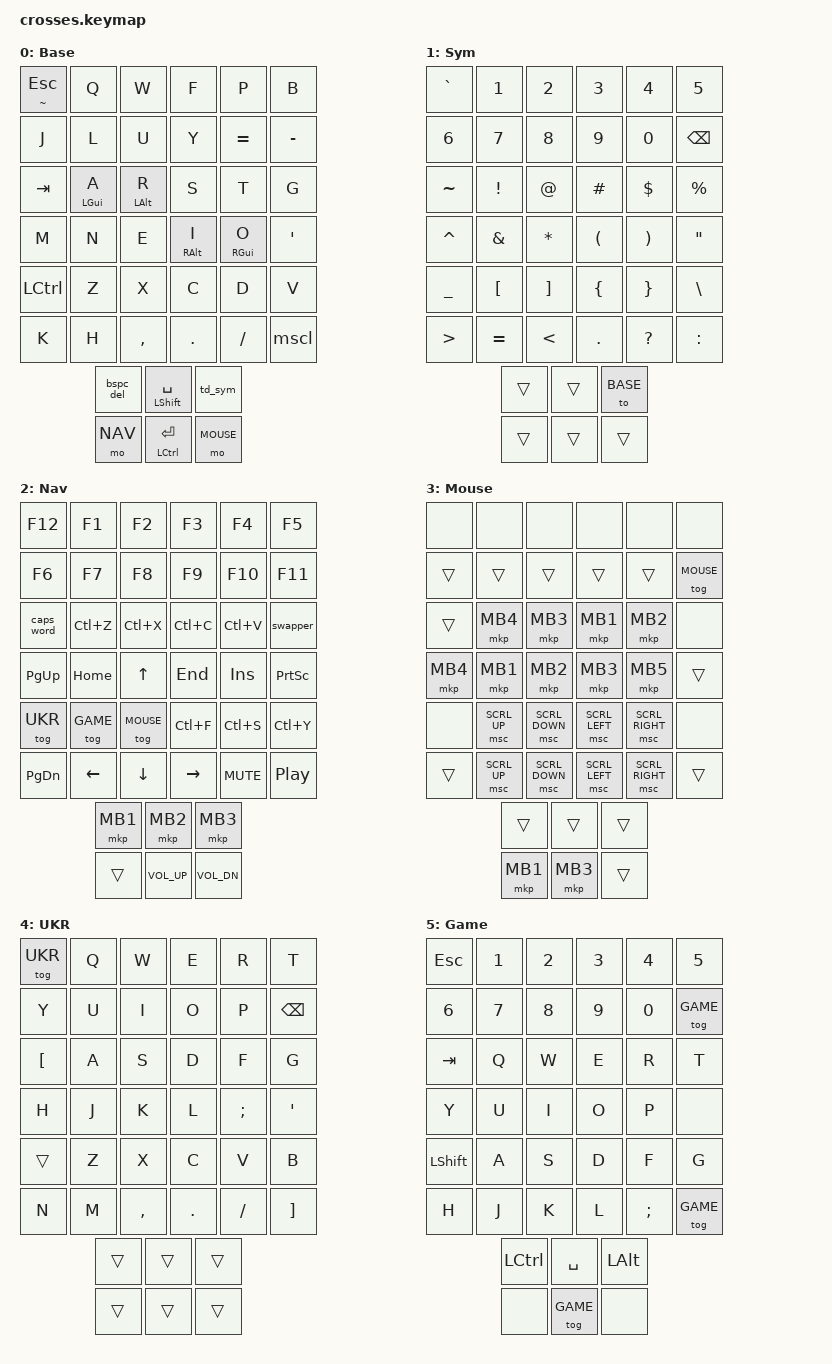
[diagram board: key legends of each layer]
// ============================================================================
// Crosses 42 — ZMK Keymap — STAGE 9 (A3 + B1: drop mod-morphs, ;: at pos 35)
//
// Stages 1-8: hardware-verified history (see STAGEn_NOTES.md per stage).
//
// Stage 9 features (this stage):
//   • BASE punctuation rework (audit option A3 + B1):
//     - pos 23: SQT plain (', Shift = ")           — was mcs (',;')
//     - pos 32: COMMA plain (,, Shift = <)         — was SQT
//     - pos 33: DOT plain (., Shift = >)           — was mdc ('.:')
//     - pos 35: mscl mod-morph (; tap, : Shift)    — was BSLH ('\|')
//     Rationale: pos 32/33 return to QWERTY-like positions (matches Max's
//     dominant muscle memory — Stage 8 swap chased the wrong memory). `;`
//     and `:` move off Shift+pos-23 and Shift+pos-33 onto a dedicated key
//     at outer-pinky bottom. `\` is rare in daily typing → relegated to SYM.
//   • Behaviors block: mcs and mdc removed (no longer used). mscl added.
//     (Label is `mscl` not `msc` — `msc` collides with upstream ZMK
//     mouse_scroll behavior used on MOUSE layer.)
//   • SYM realign (column-alignment rule mostly preserved):
//       pos 23 SYM = '"'   (matches SQT Shift at pos 23 on BASE)
//       pos 32 SYM = '<'   (matches COMMA Shift at pos 32 on BASE)
//       pos 33 SYM = '.'   (BASE-TAP mirror, NOT BASE-shift — exception to
//                          the rule, for typing `1.5.0` from SYM/Numword)
//       pos 34 SYM = '?'   (unchanged — matches FSLH Shift)
//       pos 35 SYM = ':'   (matches mscl Shift at pos 35 on BASE)
//     `\` relocated to SYM pos 29 (joins the left-side bracket cluster as
//     the escape character). SYM pos 30 = '>' (relocated from pos 33 to
//     keep `>` directly tappable on SYM without a Shift chord).
//   • `<` reachable: SYM pos 32 direct, or Shift+pos-32 on BASE.
//   • `>` reachable: SYM pos 30 direct, or Shift+pos-33 on BASE/SYM.
//   • `.` reachable: BASE pos 33 direct, or SYM pos 33 direct (same column).
//   • UKR Ґ path shifts: was Shift+SYM+pos-35, now Shift+SYM+pos-29
//     (where \ lives on SYM).
//
// All Stage 8 mechanics retained:
//   • combo_ctrl_v on pos 14+29 (S+V) — Ctrl+V via combo
//   • NAV pos 27/28/29 = Ctrl+F / Ctrl+S / Ctrl+Y
//   • Brackets on left ([ ] { }) at pos 25-28 (inward rolls)
//   • ( ) on right (pos 21/22), = at right-index home (pos 31)
//   • Number-row shift partners 8→*, 9→(, 0→) at pos 20-22
//
// All Stage 7 mechanics retained:
//   • sht (Space/Shift balanced, 200/0/75)
//   • Numword on td_sym double-tap, momentary on single-hold
//   • Caps Word combo (pos 36+37), Bootloader combo (pos 0+11 on NAV)
//   • Mouseless combos: D+V → ScrollLock (overlay), K+H → Pause (free)
//   • Alt-Tab swapper (tri-state) on NAV pos 17
//   • Dedicated LCTRL at pos 24 (still the long-tail Ctrl key)
//   • All bracket characters live on SYM only (no BASE TD brackets)
//
// Current BASE HRM scope:
//   • Win/Alt only: A=LGUI, R=LALT, I=RALT, O=RGUI
//   • S/T/N/E are plain keys; Ctrl and Shift use dedicated alternatives
//
// KeyPeek integration (Stage 6+):
//   See KEYPEEK_SETUP.md. After this stage's rebuild, refresh the behavior
//   IDs in keypeek-crosses42/src/zmk_keycode_labels/crosses42.rs — they
//   change on every behaviors-block edit. Stage 9 removes mcs and mdc
//   labels and adds an mscl label. Stage 8 patched the fork's
//   keycode_label.rs to render single-glyph (vs QMK keycap-style two-line)
//   labels for LBKT/RBKT/BSLH/MINUS/EQUAL/COMMA/PERIOD/SLASH/SEMI/SQT/GRAVE.
//
// UKR layer notes:
//   • Thumbs are &trans — fall through to BASE (SYM/NAV thumbs still work)
//   • Ґ (rare 33rd letter): hold SYM thumb → SYM layer → BSLH position
//     (now pos 29 SYM, was pos 35 pre-Stage-9), while holding any Shift
//     source. UKR home-row Y/J have no HRM, so Shift comes from BASE
//     SPC⇧ thumb (pos 37 &trans → BASE sht).
//   • Windows IME must be switched manually (Win+Space) before entering L4
//
// Game layer notes:
//   • HRM positions use plain &kp — no hold-tap timing at all
//   • &none on right-side unused positions blocks BASE HRM fallthrough
//   • EXIT on three right-side keys: top-right outer, bottom-right outer,
//     right inner thumb
//
// Hardware-verified UX checkpoint (2026-09-01):
//   • Right-ball Auto Mouse with conventional click/wheel controls; Grid Jump
//     removed because it was not useful in daily practice.
//   • Six-count/80 ms motion gate plus 500 ms prior-idle guard prevents
//     key-strike vibration from activating Mouse.
//   • BASE HRMs reduced to Win/Alt only; S/T/N/E remain plain keys.
// Deferred: extend the Ctrl+V combo pattern only if direct evidence supports
//   it; consider tighter timing only for the four retained Win/Alt HRMs.
// ============================================================================

#include <behaviors.dtsi>
#include <behaviors/num_word.dtsi>
#include <input/processors.dtsi>
#include <dt-bindings/zmk/keys.h>
#include <dt-bindings/zmk/bt.h>
#include <dt-bindings/zmk/outputs.h>
#include <dt-bindings/zmk/pointing.h>
#include <dt-bindings/zmk/reset.h>

#define BASE  0
#define SYM   1
#define NAV   2
#define MOUSE 3
#define UKR   4
#define GAME  5

#define LEFT_HAND_KEYS  \
        0  1  2  3  4  5  \
        12 13 14 15 16 17 \
        24 25 26 27 28 29 \
        36 37 38

#define RIGHT_HAND_KEYS \
        6  7  8  9  10 11 \
        18 19 20 21 22 23 \
        30 31 32 33 34 35 \
        39 40 41

/ {
    auto_mouse_layer: auto_mouse_layer {
        compatible = "zmk,input-processor-temp-layer";
        #input-processor-cells = <2>;
        // Do not let desk/ball vibration from typing raise Mouse. Pointer
        // motion still reaches the host during this guard; only the automatic
        // layer activation waits until the keyboard has been idle for 500 ms.
        require-prior-idle-ms = <500>;
        // Only clicks and wheel actions keep auto-Mouse active on press.
        // Left thumb presses dismiss the temporary layer for immediate editing.
        excluded-positions = <13 14 15 16 25 26 27 28>;
    };

    auto_mouse_gate: auto_mouse_gate {
        compatible = "zmk,input-processor-motion-gated-temp-layer";
        #input-processor-cells = <2>;
        processor = <&auto_mouse_layer>;
        // Hard key strikes can mechanically nudge the PMW3610 by 1-2 counts.
        // Require a small intentional movement before raising Mouse; motion
        // itself still reaches the host without being delayed or discarded.
        activation-threshold = <6>;
        activation-window-ms = <80>;
    };

    chosen {
        zmk,physical-layout = &gggw_crosses_42_layout;
    };

    behaviors {
        hml: home_row_mod_left {
            compatible = "zmk,behavior-hold-tap";
            #binding-cells = <2>;
            flavor = "balanced";
            tapping-term-ms = <260>;
            quick-tap-ms = <175>;
            require-prior-idle-ms = <200>;
            bindings = <&kp>, <&kp>;
            hold-trigger-key-positions = <RIGHT_HAND_KEYS>;
            hold-trigger-on-release;
        };

        hmr: home_row_mod_right {
            compatible = "zmk,behavior-hold-tap";
            #binding-cells = <2>;
            flavor = "balanced";
            tapping-term-ms = <260>;
            quick-tap-ms = <175>;
            require-prior-idle-ms = <200>;
            bindings = <&kp>, <&kp>;
            hold-trigger-key-positions = <LEFT_HAND_KEYS>;
            hold-trigger-on-release;
        };

        ht: hold_tap {
            compatible = "zmk,behavior-hold-tap";
            #binding-cells = <2>;
            flavor = "tap-preferred";
            tapping-term-ms = <200>;
            quick-tap-ms = <175>;
            bindings = <&kp>, <&kp>;
        };

        // Space/Shift: balanced flavor so rolling through Space into the
        // next letter produces Space (not Shift). Intentional Shift still
        // works: hold Space → press+release letter → release Space.
        // A short require-prior-idle-ms still protects fast typing rolls while
        // allowing Shift soon after another key. quick-tap-ms is disabled so
        // a rapid Space → Shift reuse is not forced to resolve as Space.
        sht: space_hold_tap {
            compatible = "zmk,behavior-hold-tap";
            #binding-cells = <2>;
            flavor = "balanced";
            tapping-term-ms = <200>;
            quick-tap-ms = <0>;
            require-prior-idle-ms = <75>;
            bindings = <&kp>, <&kp>;
        };

        bspc_del: bspc_del {
            compatible = "zmk,behavior-mod-morph";
            #binding-cells = <0>;
            bindings = <&kp BSPC>, <&kp DEL>;
            mods = <(MOD_LSFT|MOD_RSFT)>;
        };

        // Stage 9 mod-morph: ;: at outer-pinky bottom (pos 35 BASE).
        // mscl: tap = `;`, Shift+tap = `:`
        // Label is `mscl` (not `msc`) — `msc` is taken by upstream ZMK's
        // mouse_scroll behavior, which is used on the MOUSE layer below.
        // Replaces Stage 6's mcs/mdc mod-morphs which were removed when
        // BASE pos 23/32/33 became plain &kp (audit option A3). `;` and `:`
        // now have a dedicated key instead of being Shift-shadows of `,`/`.`.
        mscl: semi_colon {
            compatible = "zmk,behavior-mod-morph";
            #binding-cells = <0>;
            bindings = <&kp SEMI>, <&kp COLON>;
            mods = <(MOD_LSFT|MOD_RSFT)>;
        };

        // Slash unchanged on BASE — Shift+/ produces `?` via the OS (no
        // mod-morph needed). pos 23 BASE = plain SQT (Shift = "). pos 32
        // BASE = plain COMMA (Shift = <). pos 33 BASE = plain DOT (Shift = >).

        // TD brackets removed in Stage 7 — LCTRL at pos 24, no more on BASE.
        // All bracket chars remain accessible on SYM layer.

        // SYM tap-dance: 1× hold = momentary SYM, 2× tap = Numword.
        // Numword (zmk-auto-layer) auto-exits when a non-number key is pressed.
        // For sustained symbol editing, hold SYM instead of double-tapping.
        td_sym: td_sym {
            compatible = "zmk,behavior-tap-dance";
            #binding-cells = <0>;
            tapping-term-ms = <200>;
            bindings = <&mo SYM>, <&num_word SYM>;
        };

        // Alt-Tab swapper: first tap holds Alt + sends Tab, subsequent taps
        // send Tab. Alt releases when any non-ignored key is pressed or when
        // the NAV layer deactivates. Arrow keys are ignored so you can
        // navigate the Windows task switcher.
        swapper: swapper {
            compatible = "zmk,behavior-tri-state";
            #binding-cells = <0>;
            bindings = <&kt LALT>, <&kp TAB>, <&kt LALT>;
            ignored-key-positions = <20 31 32 33>;
            timeout-ms = <5000>;
        };
    };

    combos {
        compatible = "zmk,combos";

        // Caps Word: press BSPC + SPC thumbs simultaneously (pos 36+37).
        // Natural two-thumb gesture, no layer switch needed.
        // Activates Caps Word for Go constants like HTTP_STATUS_OK.
        combo_caps_word {
            timeout-ms = <50>;
            key-positions = <36 37>;
            bindings = <&caps_word>;
            layers = <BASE>;
        };

        // Bootloader: press both outer top corners (pos 0+11) on NAV layer.
        // Intentionally hard to trigger — requires holding NAV + pressing
        // two far-apart keys simultaneously. Replaces the old single-key
        // bootloader at NAV pos 35.
        combo_bootloader {
            timeout-ms = <50>;
            key-positions = <0 11>;
            bindings = <&bootloader>;
            layers = <NAV>;
        };

        // Mouseless overlay: D+V (pos 28+29) → ScrollLock.
        // Configure Mouseless "show overlay" to ScrollLock in its settings.
        // Left bottom row, adjacent inner keys — natural two-finger press.
        combo_mouseless_overlay {
            timeout-ms = <40>;
            key-positions = <28 29>;
            bindings = <&kp SLCK>;
            layers = <BASE>;
            require-prior-idle-ms = <200>;
        };

        // Mouseless free mode: K+H (pos 30+31) → Pause/Break.
        // Configure Mouseless "toggle free mode" to Pause in its settings.
        // Right bottom row, adjacent inner keys — mirrors the left combo.
        combo_mouseless_free {
            timeout-ms = <40>;
            key-positions = <30 31>;
            bindings = <&kp PAUSE_BREAK>;
            layers = <BASE>;
            require-prior-idle-ms = <200>;
        };

        // Stage 8: Ctrl+V via S+V combo (pos 14+29).
        // Kept as a direct shortcut even though S is now a plain key:
        // 40ms simultaneous press → Ctrl+V, no timing/positional contest.
        // require-prior-idle-ms=150 prevents accidental fire during fast
        // typing — English bigram "sv" is essentially nonexistent anyway.
        // Pattern can extend to S+X / S+C / S+D / S+A in Stage 9 if this
        // proves reliable.
        combo_ctrl_v {
            timeout-ms = <40>;
            key-positions = <14 29>;
            bindings = <&kp LC(V)>;
            layers = <BASE>;
            require-prior-idle-ms = <150>;
        };
    };

    keymap {
        compatible = "zmk,keymap";

        // ── L0 Base ──────────────────────────────────────────────────────────
        // ESC/~ at top-left (pos 0). TAB at pos 12 (home row outer left).
        // LCTRL at pos 24 — dedicated Ctrl for same-hand shortcuts:
        //   Ctrl+Z (25), Ctrl+X (26), Ctrl+C (27), Ctrl+D (28), Ctrl+V (29),
        //   Ctrl+S (14), Ctrl+A (13), Ctrl+W (2). Fixes HRM gap where S IS Ctrl.
        // Stage 9 punctuation (post mcs/mdc removal):
        //   pos 23 = SQT plain    (',  Shift = ")
        //   pos 32 = COMMA plain  (,,  Shift = <)
        //   pos 33 = DOT plain    (.,  Shift = >)
        //   pos 34 = FSLH plain   (/,  Shift = ?)
        //   pos 35 = mscl         (;,  Shift = :)   — new ;: mod-morph
        // `\` no longer on BASE — reachable on SYM pos 29 only. UKR Ґ uses
        // that same SYM position now (was pos 35 in Stage 8).
        // Right outer thumb (pos 41) is &mo MOUSE for trackball clicks.
        // Combos: S+V = Ctrl+V (Stage 8), D+V = Mouseless overlay,
        //         K+H = Mouseless free mode, BSPC+SPC = Caps Word.
        base_layer {
            display-name = "Base";
            bindings = <
    &ht TILDE ESC  &kp Q          &kp W          &kp F          &kp P          &kp B
                                                                                       &kp J          &kp L          &kp U          &kp Y          &kp EQUAL      &kp MINUS
    &kp TAB        &hml LGUI A    &hml LALT R    &kp S          &kp T          &kp G
                                                                                       &kp M          &kp N          &kp E          &hmr RALT I    &hmr RGUI O    &kp SQT
    &kp LCTRL      &kp Z          &kp X          &kp C          &kp D          &kp V
                                                                                       &kp K          &kp H          &kp COMMA      &kp DOT        &kp FSLH       &mscl
                                                 &bspc_del      &sht LSHFT SPACE &td_sym
                                                                                       &mo NAV        &mt LCTRL RET  &mo MOUSE
            >;
        };

        // ── L1 Sym ───────────────────────────────────────────────────────────
        // Access: hold ▽SYM (left inner thumb) = momentary
        //         2× tap ▽SYM = Numword (auto-exits on non-number key)
        // Right inner thumb (pos 38) returns to BASE (&to BASE).
        //
        // Stage 9 realign (column rule preserved against new BASE):
        //   • Brackets clustered on left row 3 ([ ] { } at pos 25-28).
        //     Inward rolls for [] and {}.
        //   • `\` at pos 29 — joins the left bracket cluster as the escape
        //     char. Also the UKR Ґ key (Shift+pos-29 → Windows IME maps to Ґ).
        //   • pos 30 = `>` — relocated here so `.` can take pos 33 (see below).
        //   • ( ) on right (pos 21/22) — matches shift+9/0 muscle memory.
        //   • = at right-index home (pos 31) — anchor for ==/!=/=>.
        //   • Column-aligned with BASE: pos 23='"' 32='<' 34='?' 35=':'.
        //   • pos 33 = `.` (BASE-tap mirror, NOT BASE-shift). Lets you type
        //     version numbers like `1.5.0` from SYM/Numword without exiting.
        //     `.` is in num_word's continue-list, so Numword stays active.
        //     `>` still reachable two ways: tap pos 30, or Shift+pos-33
        //     (Shift+. = > via OS layer).
        //   • Number-row shifts standard: 8→*, 9→(, 0→) at pos 20-22.
        //   • + and - not duplicated on SYM (use shift+= and pos 11 on BASE).
        //   • / not duplicated (use pos 34 on BASE; SYM pos 34 = '?').
        //   • `<` reachable two ways: SYM pos 32 (direct) or Shift on BASE
        //     pos 32. `>` reachable two ways: SYM pos 30 (direct) or Shift
        //     on SYM pos 33 / BASE pos 33.
        sym_layer {
            display-name = "Sym";
            bindings = <
    &kp GRAVE      &kp N1         &kp N2         &kp N3         &kp N4         &kp N5
                                                                                       &kp N6         &kp N7         &kp N8         &kp N9         &kp N0         &kp BSPC
    &kp TILDE      &kp EXCL       &kp AT         &kp HASH       &kp DLLR       &kp PRCNT
                                                                                       &kp CARET      &kp AMPS       &kp STAR       &kp LPAR       &kp RPAR       &kp DQT
    &kp UNDER      &kp LBKT       &kp RBKT       &kp LBRC       &kp RBRC       &kp BSLH
                                                                                       &kp GT         &kp EQUAL      &kp LT         &kp DOT        &kp QMARK      &kp COLON
                                                 &trans         &trans         &to BASE
                                                                                       &trans         &trans         &trans
            >;
        };

        // ── L2 Nav + Fn ──────────────────────────────────────────────────────
        // Left home row: clipboard (Undo/Cut/Copy/Paste) — one-hand editing
        // Left bottom row pos 27-29 (Stage 8): Find / Save / Redo. Pairs with
        //   the clipboard cluster above so all common editor shortcuts are
        //   under one NAV hold.
        // pos 12: Caps Word
        // pos 17: Alt-Tab swapper (tri-state)
        // pos 24-26: UKR / Game / Mouse layer toggles
        // Left thumbs: MB1/MB2/MB3 for trackball clicks while holding NAV
        // Bootloader: combo (pos 0+11), not a single key
        nav_layer {
            display-name = "Nav";
            bindings = <
    &kp F12        &kp F1         &kp F2         &kp F3         &kp F4         &kp F5
                                                                                       &kp F6         &kp F7         &kp F8         &kp F9         &kp F10        &kp F11
    &caps_word     &kp LC(Z)      &kp LC(X)      &kp LC(C)      &kp LC(V)      &swapper
                                                                                       &kp PG_UP      &kp HOME       &kp UP         &kp END        &kp INS        &kp PSCRN
    &tog UKR       &tog GAME      &tog MOUSE     &kp LC(F)      &kp LC(S)      &kp LC(Y)
                                                                                       &kp PG_DN      &kp LEFT       &kp DOWN       &kp RIGHT      &kp C_MUTE     &kp C_PP
                                                 &mkp MB1       &mkp MB2       &mkp MB3
                                                                                       &trans         &kp C_VOL_UP   &kp C_VOL_DN
            >;
        };

        // ── L3 Auto Mouse ─────────────────────────────────────────────────────
        // Right-ball motion activates this layer for 1000 ms. Continued motion
        // refreshes the timeout. A 500 ms prior-idle guard prevents typing
        // vibration or incidental ball brushes from raising Mouse.
        //
        // Left home row: Tab is transparent; A=Back (MB4), R=middle (MB3),
        // S=left (MB1), T=right (MB2) click.
        // Left bottom row: discrete wheel up / down / left / right.
        // Left thumbs: transparent to Base, preserving Backspace/Del,
        // Space/Shift, and Sym while dismissing auto-Mouse on press.
        //
        // Grid Jump remains removed. Other quiet left positions use &none;
        // click and wheel positions are excluded from press-to-dismiss.
        //
        // Manual fallback remains: Base pos 41 holds Mouse; Nav pos 26 toggles
        // Mouse; pos 11 exits the toggle. The existing right-side mouse actions
        // remain as manual alternatives to the automatic workflow.
        mouse_layer {
            display-name = "Mouse";
            bindings = <
    &none          &none          &none          &none          &none          &none
                                                                                       &trans         &trans         &trans         &trans         &trans         &tog MOUSE
    &trans         &mkp MB4       &mkp MB3       &mkp MB1       &mkp MB2       &none
                                                                                       &mkp MB4       &mkp MB1       &mkp MB2       &mkp MB3       &mkp MB5       &trans
    &none          &msc SCRL_UP   &msc SCRL_DOWN &msc SCRL_LEFT &msc SCRL_RIGHT &none
                                                                                       &trans         &msc SCRL_UP   &msc SCRL_DOWN &msc SCRL_LEFT &msc SCRL_RIGHT &trans
                                                 &trans         &trans         &trans
                                                                                       &mkp MB1       &mkp MB3       &trans
            >;
        };

        // ── L4 UKR ───────────────────────────────────────────────────────────
        // QWERTY keycodes for Windows Ukrainian IME. No HRM — straight &kp only.
        // Thumbs are &trans — fall through to BASE (SYM + NAV thumbs still work).
        // pos 24 (bottom-left outer) = &trans — falls through to BASE LCTRL,
        //   so Ctrl+C/V/Z work while typing Ukrainian.
        // pos 35 (bottom-right outer) = Ї (&kp RBKT). Overrides BASE backslash.
        // EXIT (pos 0): &tog UKR.
        //
        // Ukrainian letter mapping (Windows Ukrainian QWERTY IME):
        //   Q=Й W=Ц E=У R=К T=Е  Y=Н U=Г I=Ш O=Щ P=З  [=Х ]=Ї
        //   A=Ф S=І D=В F=А G=П  H=Р J=О K=Л L=Д ;=Ж '=Є
        //   Z=Я X=Ч C=С V=М B=И  N=Т M=Ь ,=Б .=Ю /=.
        //   Ґ (rare): Shift+BSLH via SYM layer (SYM thumb still active via &trans)
        ukr_layer {
            display-name = "UKR";
            bindings = <
    &tog UKR       &kp Q          &kp W          &kp E          &kp R          &kp T
                                                                                       &kp Y          &kp U          &kp I          &kp O          &kp P          &kp BSPC
    &kp LBKT       &kp A          &kp S          &kp D          &kp F          &kp G
                                                                                       &kp H          &kp J          &kp K          &kp L          &kp SEMI       &kp SQT
    &trans         &kp Z          &kp X          &kp C          &kp V          &kp B
                                                                                       &kp N          &kp M          &kp COMMA      &kp DOT        &kp FSLH       &kp RBKT
                                                 &trans         &trans         &trans
                                                                                       &trans         &trans         &trans
            >;
        };

        // ── L5 Game ──────────────────────────────────────────────────────────
        // Pure QWERTY for gaming — all &kp, no HRM, no timing behaviors.
        // &none on right-side unused positions blocks BASE HRM fallthrough.
        // EXIT on three right-side keys (top-right outer, bottom-right outer,
        // right inner thumb): &tog GAME.
        game_layer {
            display-name = "Game";
            bindings = <
    &kp ESC        &kp N1         &kp N2         &kp N3         &kp N4         &kp N5
                                                                                       &kp N6         &kp N7         &kp N8         &kp N9         &kp N0         &tog GAME
    &kp TAB        &kp Q          &kp W          &kp E          &kp R          &kp T
                                                                                       &kp Y          &kp U          &kp I          &kp O          &kp P          &none
    &kp LSHFT      &kp A          &kp S          &kp D          &kp F          &kp G
                                                                                       &kp H          &kp J          &kp K          &kp L          &kp SEMI       &tog GAME
                                                 &kp LCTRL      &kp SPACE      &kp LALT
                                                                                       &none          &tog GAME      &none
            >;
        };
    };
};

// The right PMW3610 is attached to the central listener. Temporary-layer
// processing must run before report-rate limiting so every real motion report
// can count toward activation or refresh Mouse even if the HID report itself
// is coalesced. Six cumulative X/Y counts within 80 ms rejects key-strike
// vibration while keeping intentional trackball movement effectively instant.
&trackball_central_listener {
    input-processors = <&auto_mouse_gate MOUSE 1000>, <&zip_ble_report_rate_limit>;
};
